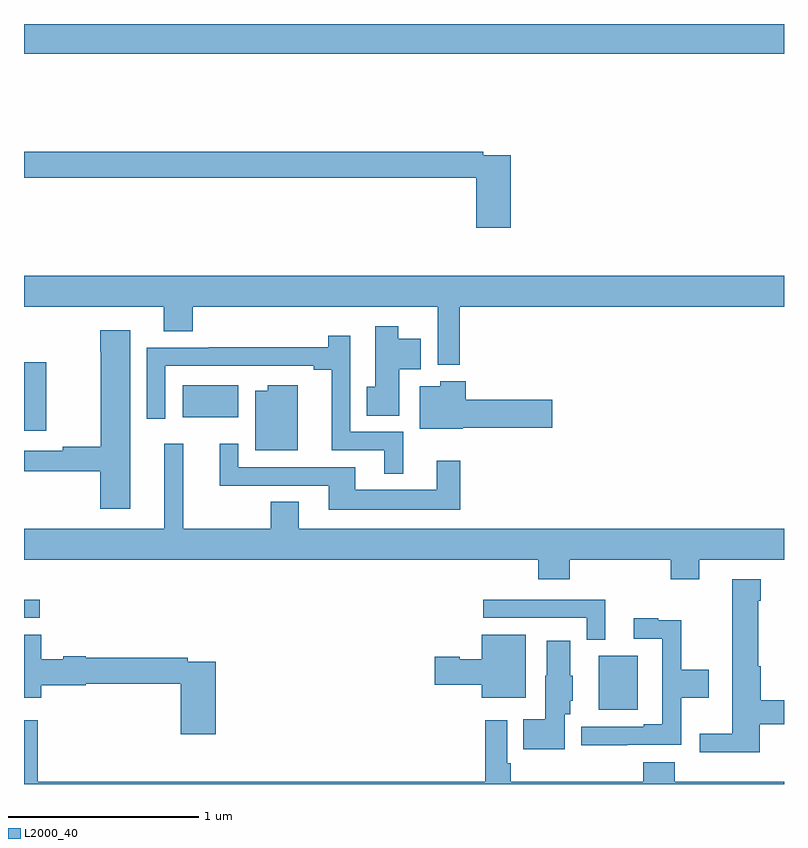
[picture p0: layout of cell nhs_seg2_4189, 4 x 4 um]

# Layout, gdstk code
import gdstk
lib = gdstk.Library(unit=1e-6, precision=1e-09)
def R(c, l, rs):  # rectangles x0, y0, x1, y1
    for r in rs: c.add(gdstk.rectangle(r[:2], r[2:], *l))
def P(c, l, *ps):  # polygons
    for p in ps: c.add(gdstk.Polygon(p, *l))
L2000_40 = (2000, 40)

nhs_seg2_4189 = lib.new_cell('nhs_seg2_4189')
R(nhs_seg2_4189, L2000_40, [(340.025,636.191,340.231,636.475), (337,636.675,337.084,636.771), (337,637.659,337.116,638.019), (337.835,637.73,338.128,637.9), (337,639.644,341,639.8)])
P(nhs_seg2_4189, L2000_40, [(339.563,639.108),(339.416,639.108),(339.416,639.128),(337,639.128),(337,638.992),(339.38,638.992),(339.38,638.727),(339.563,638.727)],
  [(339.293,638.312),(341,638.312),(341,638.476),(337,638.476),(337,638.312),(337.736,638.312),(337.736,638.182),(337.889,638.182),(337.889,638.312),(339.177,638.312),(339.177,638.006),(339.293,638.006)],
  [(338.974,637.982),(339.088,637.982),(339.088,638.143),(338.971,638.143),(338.971,638.209),(338.849,638.209),(338.849,637.89),(338.803,637.89),(338.803,637.738),(338.974,637.738)],
  [(337.558,638.188),(337.4,638.188),(337.4,638.075),(337.405,638.075),(337.405,637.574),(337.204,637.574),(337.204,637.554),(337,637.554),(337,637.446),(337.4,637.446),(337.4,637.248),(337.558,637.248)],
  [(338.995,637.653),(338.718,637.653),(338.718,638.158),(338.602,638.158),(338.602,638.099),(337.972,638.099),(337.972,638.097),(337.647,638.097),(337.647,637.722),(337.743,637.722),(337.743,638.001),(338.525,638.001),(338.525,637.981),(338.621,637.981),(338.621,637.557),(338.897,637.557),(338.897,637.433),(338.995,637.433)],
  [(339.309,637.676),(339.781,637.676),(339.781,637.823),(339.326,637.823),(339.326,637.921),(339.192,637.921),(339.192,637.894),(339.083,637.894),(339.083,637.67),(339.309,637.67)],
  [(338.44,637.9),(338.282,637.9),(338.282,637.87),(338.216,637.87),(338.216,637.556),(338.44,637.556)],
  [(339.295,637.501),(339.173,637.501),(339.173,637.348),(338.743,637.348),(338.743,637.467),(338.127,637.467),(338.127,637.591),(338.03,637.591),(338.03,637.371),(338.603,637.371),(338.603,637.244),(339.295,637.244)],
  [(339.872,636.98),(340.403,636.98),(340.403,636.878),(340.555,636.878),(340.555,636.98),(341,636.98),(341,637.144),(338.446,637.144),(338.446,637.286),(338.299,637.286),(338.299,637.144),(337.838,637.144),(337.838,637.591),(337.739,637.591),(337.739,637.144),(337,637.144),(337,636.98),(339.707,636.98),(339.707,636.878),(339.872,636.878)],
  [(340.872,636.114),(341,636.114),(341,636.242),(340.877,636.242),(340.877,636.419),(340.864,636.419),(340.864,636.764),(340.877,636.764),(340.877,636.877),(340.727,636.877),(340.727,636.065),(340.557,636.065),(340.557,635.966),(340.872,635.966)],
  [(340.06,636.771),(339.417,636.771),(339.417,636.675),(339.963,636.675),(339.963,636.56),(340.06,636.56)],
  [(340.175,636.006),(340.46,636.006),(340.46,636.254),(340.603,636.254),(340.603,636.402),(340.46,636.402),(340.46,636.662),(340.337,636.662),(340.337,636.673),(340.209,636.673),(340.209,636.564),(340.359,636.564),(340.359,636.115),(340.262,636.115),(340.262,636.102),(339.933,636.102),(339.933,636.005),(340.175,636.005)],
  [(339.64,636.586),(339.41,636.586),(339.41,636.457),(339.294,636.457),(339.294,636.47),(339.162,636.47),(339.162,636.323),(339.41,636.323),(339.41,636.254),(339.64,636.254)],
  [(338.009,636.444),(337.862,636.444),(337.862,636.464),(337.326,636.464),(337.326,636.472),(337.206,636.472),(337.206,636.457),(337.09,636.457),(337.09,636.586),(337,636.586),(337,636.254),(337.09,636.254),(337.09,636.32),(337.326,636.32),(337.326,636.328),(337.826,636.328),(337.826,636.063),(338.009,636.063)],
  [(339.847,636.168),(339.874,636.168),(339.874,636.237),(339.889,636.237),(339.889,636.369),(339.874,636.369),(339.874,636.553),(339.752,636.553),(339.752,636.369),(339.743,636.369),(339.743,636.142),(339.628,636.142),(339.628,635.984),(339.847,635.984)],
  [(341,635.812),(340.424,635.812),(340.424,635.914),(340.259,635.914),(340.259,635.812),(339.563,635.812),(339.563,635.908),(339.543,635.908),(339.543,636.136),(339.427,636.136),(339.427,635.812),(337.073,635.812),(337.073,636.136),(337,636.136),(337,635.8),(341,635.8)])

lib.write_gds('nhs_seg2_4189.gds')
